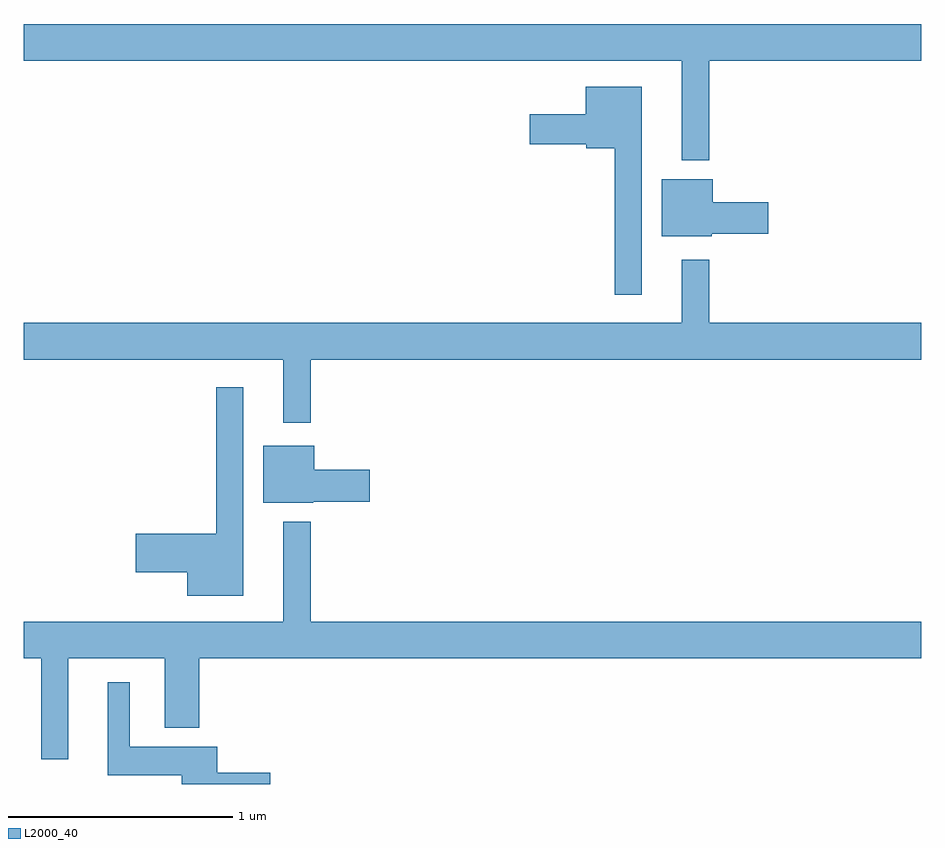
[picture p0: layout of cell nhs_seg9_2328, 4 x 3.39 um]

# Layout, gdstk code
import gdstk
lib = gdstk.Library(unit=1e-6, precision=1e-09)
def P(c, l, *ps):  # polygons
    for p in ps: c.add(gdstk.Polygon(p, *l))
L2000_40 = (2000, 40)

nhs_seg9_2328 = lib.new_cell('nhs_seg9_2328')
P(nhs_seg9_2328, L2000_40, [(246.055,1225.724),(247,1225.724),(247,1225.888),(243,1225.888),(243,1225.724),(245.933,1225.724),(245.933,1225.28),(246.055,1225.28)],
  [(245.755,1225.609),(245.504,1225.609),(245.504,1225.486),(245.256,1225.486),(245.256,1225.352),(245.508,1225.352),(245.508,1225.334),(245.634,1225.334),(245.634,1224.681),(245.755,1224.681)],
  [(246.066,1224.952),(246.319,1224.952),(246.319,1225.094),(246.07,1225.094),(246.07,1225.195),(245.843,1225.195),(245.843,1224.941),(246.066,1224.941)],
  [(244.279,1224.392),(247,1224.392),(247,1224.556),(246.055,1224.556),(246.055,1224.838),(245.933,1224.838),(245.933,1224.556),(243,1224.556),(243,1224.392),(244.157,1224.392),(244.157,1224.111),(244.279,1224.111)],
  [(243.979,1224.268),(243.858,1224.268),(243.858,1223.615),(243.498,1223.615),(243.498,1223.444),(243.728,1223.444),(243.728,1223.339),(243.979,1223.339)],
  [(244.29,1223.759),(244.543,1223.759),(244.543,1223.901),(244.294,1223.901),(244.294,1224.007),(244.067,1224.007),(244.067,1223.753),(244.29,1223.753)],
  [(243.199,1223.06),(243.629,1223.06),(243.629,1222.751),(243.782,1222.751),(243.782,1223.06),(247,1223.06),(247,1223.224),(244.279,1223.224),(244.279,1223.668),(244.157,1223.668),(244.157,1223.224),(243,1223.224),(243,1223.06),(243.078,1223.06),(243.078,1222.611),(243.199,1222.611)],
  [(244.099,1222.55),(243.863,1222.55),(243.863,1222.666),(243.472,1222.666),(243.472,1222.954),(243.374,1222.954),(243.374,1222.538),(243.704,1222.538),(243.704,1222.5),(244.099,1222.5)])

lib.write_gds('nhs_seg9_2328.gds')
